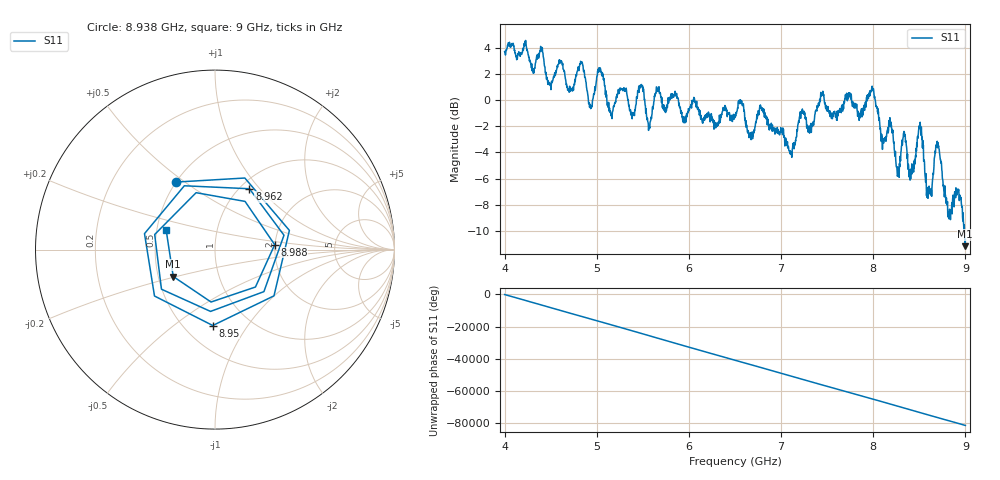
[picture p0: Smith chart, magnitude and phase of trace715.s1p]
! Created with skrf 1.8.0 (http://scikit-rf.org).
# Hz S RI R 50.0
!freq ReS11 ImS11
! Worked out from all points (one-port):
!   1601 points, 4 GHz to 9 GHz, reference 50 ohm
!   lowest |S11| = -11.2 dB at 8.997 GHz (marker M1), VSWR 1.77, Z = 29.9 - j9.72 ohm
!   |S11| at or under -10 dB: 8.989939 GHz to end of sweep
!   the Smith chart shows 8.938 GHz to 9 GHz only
!   S11 on the Smith chart (normalised r, x): 8.938 GHz: 0.50, +0.46; 8.95 GHz: 0.68, -0.70; 8.962 GHz: 1.10, +0.88; 8.988 GHz: 1.99, +0.12; 9 GHz: 0.56, +0.13
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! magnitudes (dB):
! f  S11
! 4 GHz  3.7
! 4.625 GHz  2.7
! 4.841 GHz  2.9
! 4.934 GHz  -0.6
! 5.028 GHz  2.5
! 5.15 GHz  -0.9
! 5.25 GHz  0.9
! 5.488 GHz  1.1
! 5.569 GHz  -2.1
! 5.65 GHz  1.0
! 5.875 GHz  0.2
! 6.5 GHz  -1.1
! 7.125 GHz  -3.7
! 7.225 GHz  -0.9
! 7.75 GHz  0.5
! 7.994 GHz  0.8
! 8.106 GHz  -3.3
! 8.375 GHz  -5.2
! 8.506 GHz  -2.0
! 8.6 GHz  -6.8
! 8.697 GHz  -3.6
! 8.812 GHz  -8.7
! 8.938 GHz  -7.2
! 8.95 GHz  -7.5
! 8.962 GHz  -8.2
! 8.988 GHz  -9.5
! 8.997 GHz  -11.2
! 9 GHz  -10.7
